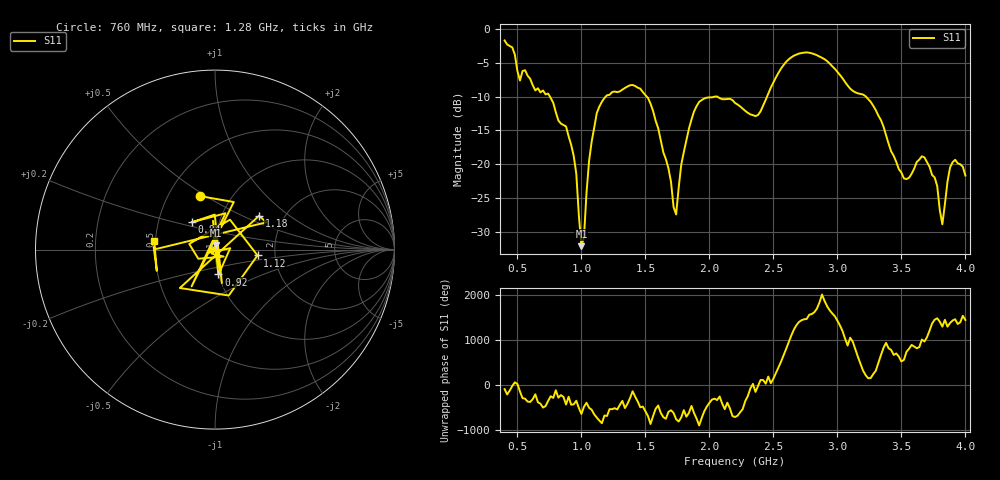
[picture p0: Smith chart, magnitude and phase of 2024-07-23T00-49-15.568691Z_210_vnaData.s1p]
!Created with skrf (http://scikit-rf.org).
# Hz S RI R 50.0
!freq ReS11 ImS11
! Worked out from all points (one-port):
!   181 points, 400 MHz to 4 GHz, reference 50 ohm
!   lowest |S11| = -32.1 dB at 1 GHz (marker M1), VSWR 1.05, Z = 50.7 + j2.41 ohm
!   |S11| at or under -10 dB: 754.4 MHz to 1.189 GHz (435 MHz wide, 44.8 % of centre); 1.512 GHz to 2.039 GHz (527.1 MHz wide, 29.7 % of centre); 3.223 GHz to end of sweep (the widest 3 of 4)
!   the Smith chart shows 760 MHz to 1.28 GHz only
!   S11 on the Smith chart (normalised r, x): 760 MHz: 0.71, +0.47; 840 MHz: 0.74, +0.23; 920 MHz: 1.00, -0.28; 1.12 GHz: 1.62, -0.11; 1.18 GHz: 1.50, +0.62; 1.28 GHz: 0.49, +0.05
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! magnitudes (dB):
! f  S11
! 400 MHz  -1.7
! 520 MHz  -7.6
! 760 MHz  -10.2
! 840 MHz  -14.0
! 860 MHz  -14.2
! 920 MHz  -17.1
! 960 MHz  -21.4
! 1 GHz  -32.1
! 1.02 GHz  -30.8
! 1.06 GHz  -19.5
! 1.12 GHz  -12.4
! 1.18 GHz  -10.2
! 1.28 GHz  -9.3
! 1.3 GHz  -9.2
! 1.52 GHz  -10.2
! 1.72 GHz  -26.3
! 1.76 GHz  -23.5
! 1.92 GHz  -10.8
! 2.2 GHz  -10.9
! 2.38 GHz  -12.7
! 2.66 GHz  -3.9
! 3.1 GHz  -8.8
! 3.56 GHz  -22.0
! 3.68 GHz  -19.0
! 3.78 GHz  -23.2
! 3.82 GHz  -28.9
! 3.88 GHz  -20.5
! 4 GHz  -21.7
